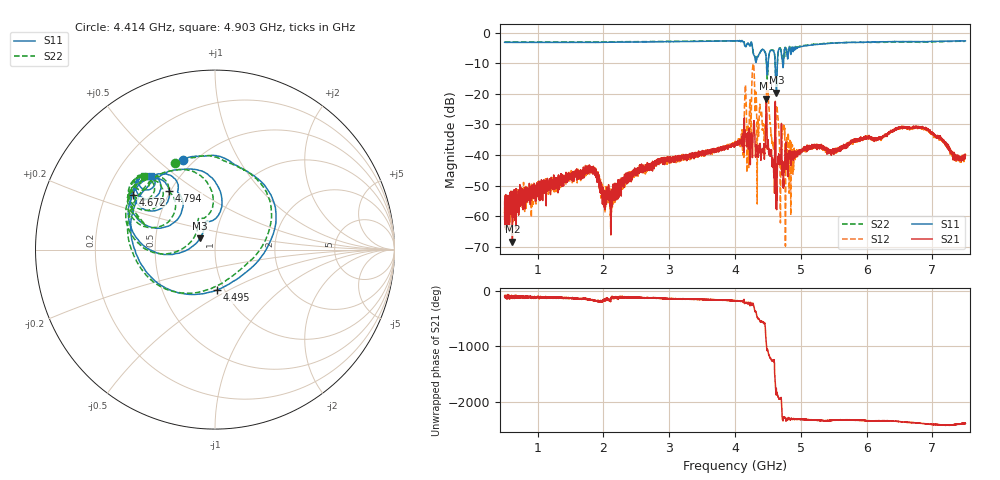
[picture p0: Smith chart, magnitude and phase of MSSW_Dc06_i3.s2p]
!Keysight Technologies,M9374A,MY55442783,A.12.55.05
!Date: Thursday, May 20, 2021 13:13:32
!Correction: S11(Full 2 Port(1,2))
!S21(Full 2 Port(1,2))
!S12(Full 2 Port(1,2))
!S22(Full 2 Port(1,2))
!S2P File: Measurements: S11, S21, S12, S22:
# Hz S  RI  R 50
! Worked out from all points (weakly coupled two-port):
!   7001 points, 500 MHz to 7.5 GHz, reference 50 ohm
!   highest |S21| = -21.53 dB at 4.476 GHz (marker M1); lowest = -68.3 dB at 618 MHz (marker M2)
!   lowest |S11| = -19.6 dB at 4.63 GHz (marker M3), VSWR 1.23, Z = 42 + j5.29 ohm
!   |S11| at or under -10 dB: 4.478 GHz to 4.503 GHz (25.6 MHz wide, 0.57 % of centre); 4.61 GHz to 4.644 GHz (34.17 MHz wide, 0.739 % of centre); 4.723205 GHz to 4.736414 GHz (13.21 MHz wide, 0.279 % of centre)
!   |S22| runs from -17.4 to -2.5 dB; largest |S21 - S12| = 0.29
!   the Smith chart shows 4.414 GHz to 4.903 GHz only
!   S11 on the Smith chart (normalised r, x): 4.414 GHz: 0.44, +0.61; 4.495 GHz: 0.92, -0.44; 4.672 GHz: 0.31, +0.28; 4.794 GHz: 0.49, +0.39; 4.903 GHz: 0.35, +0.41
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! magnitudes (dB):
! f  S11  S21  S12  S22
! 500 MHz  -3.2  -60.9  -59.1  -3.0
! 618 MHz  -3.2  -68.3  -54.4  -3.0
! 1.667 GHz  -3.2  -46.9  -47.2  -3.0
! 2.138 GHz  -3.1  -51.3  -53.7  -3.0
! 2.834 GHz  -3.0  -41.7  -43.1  -2.9
! 4 GHz  -2.6  -36.4  -36.0  -2.6
! 4.141 GHz  -3.3  -27.8  -27.0  -3.3
! 4.212 GHz  -3.8  -33.0  -36.2  -3.8
! 4.286 GHz  -7.3  -29.2  -11.0  -7.3
! 4.333 GHz  -8.0  -37.7  -33.6  -8.0
! 4.414 GHz  -5.5  -38.5  -30.6  -5.5
! 4.476 GHz  -9.4  -21.5  -21.2  -9.4
! 4.495 GHz  -13.0  -37.4  -16.5  -14.1
! 4.574 GHz  -5.8  -42.0  -36.0  -5.6
! 4.63 GHz  -19.6  -51.1  -24.3  -17.1
! 4.672 GHz  -5.2  -42.1  -34.1  -5.0
! 4.794 GHz  -7.7  -41.7  -36.8  -7.0
! 4.903 GHz  -5.3  -39.9  -41.7  -4.9
! 5.167 GHz  -4.0  -37.3  -37.6  -3.8
! 6.334 GHz  -2.9  -32.8  -32.8  -3.1
! 6.876 GHz  -2.9  -31.1  -31.4  -3.1
! 7.5 GHz  -2.7  -40.0  -40.2  -2.8
